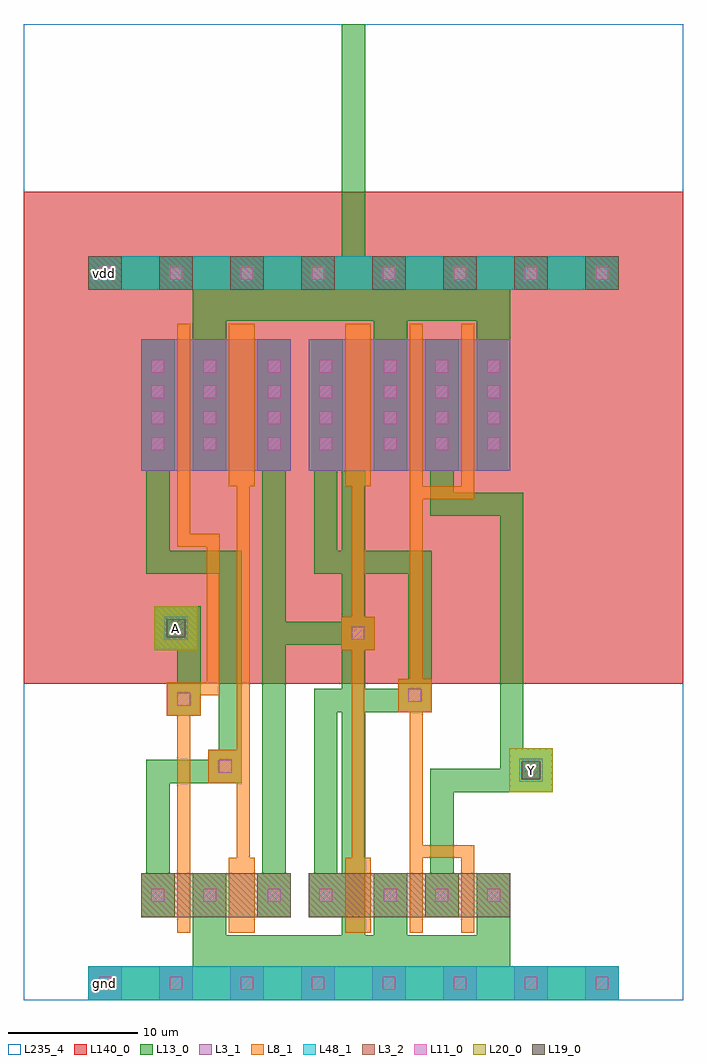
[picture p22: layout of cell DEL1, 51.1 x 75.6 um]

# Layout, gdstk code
import gdstk
lib = gdstk.Library(unit=1e-6, precision=1e-09)
def R(c, l, rs):  # rectangles x0, y0, x1, y1
    for r in rs: c.add(gdstk.rectangle(r[:2], r[2:], *l))
def A(c, l, x, y, w, h, nx, ny, dx, dy):  # array of equal rectangles
    R(c, l, [(x+i*dx, y+j*dy, x+i*dx+w, y+j*dy+h) for i in range(nx) for j in range(ny)])
def P(c, l, *ps):  # polygons
    for p in ps: c.add(gdstk.Polygon(p, *l))
L3_1 = (3, 1)
L3_2 = (3, 2)
L8_1 = (8, 1)
L11_0 = (11, 0)
L13_0 = (13, 0)
L19_0 = (19, 0)
L20_0 = (20, 0)
L48_1 = (48, 1)
L140_0 = (140, 0)
L235_4 = (235, 4)

del1 = lib.new_cell('DEL1')
A(del1, L3_1, 5, 0, 2.6, 2.6, 8, 1, 5.5, 0)
R(del1, L3_1, [(9.1,41,20.7,51.2), (22.1,41,37.7,51.2)])
A(del1, L3_2, 5, 55, 2.6, 2.6, 8, 1, 5.5, 0)
R(del1, L3_2, [(9.1,6.4,20.7,9.8), (22.1,6.4,37.7,9.8)])
P(del1, L8_1, [(11.9,5.2),(11.9,22),(11.1,22),(11.1,24.6),(14.2,24.6),(14.2,35.1),(11.9,35.1),(11.9,52.4),(12.9,52.4),(12.9,36.1),(15.2,36.1),(15.2,23.6),(13.7,23.6),(13.7,22),(12.9,22),(12.9,5.2)],
  [(15.9,5.2),(15.9,11),(16.5,11),(16.5,16.8),(14.3,16.8),(14.3,19.4),(16.5,19.4),(16.5,39.8),(15.9,39.8),(15.9,52.4),(17.9,52.4),(17.9,39.8),(17.5,39.8),(17.5,11),(17.9,11),(17.9,5.2)],
  [(24.9,5.2),(24.9,11),(25.4,11),(25.4,27.1),(24.6,27.1),(24.6,29.7),(25.4,29.7),(25.4,39.8),(24.9,39.8),(24.9,52.4),(26.9,52.4),(26.9,39.8),(26.4,39.8),(26.4,29.7),(27.2,29.7),(27.2,27.1),(26.4,27.1),(26.4,11),(26.9,11),(26.9,5.2)],
  [(29.9,5.2),(29.9,22.3),(29,22.3),(29,24.9),(29.9,24.9),(29.9,52.4),(30.9,52.4),(30.9,39.8),(33.9,39.8),(33.9,52.4),(34.9,52.4),(34.9,38.8),(30.9,38.8),(30.9,24.9),(31.6,24.9),(31.6,22.3),(30.9,22.3),(30.9,12),(34.9,12),(34.9,5.2),(33.9,5.2),(33.9,11),(30.9,11),(30.9,5.2)])
A(del1, L11_0, 5.8, 0.8, 1, 1, 8, 2, 5.5, 55)
A(del1, L11_0, 27.9, 7.6, 1, 1, 3, 2, 4, 35)
A(del1, L11_0, 9.9, 42.6, 1, 1, 1, 4, 0, 2)
A(del1, L11_0, 18.9, 42.6, 1, 1, 1, 4, 0, 2)
A(del1, L11_0, 22.9, 42.6, 1, 1, 1, 4, 0, 2)
A(del1, L11_0, 27.9, 42.6, 1, 1, 1, 4, 0, 2)
A(del1, L11_0, 27.9, 44.6, 1, 1, 3, 3, 4, 2)
R(del1, L11_0, [(9.9,7.6,10.9,8.6), (13.9,7.6,14.9,8.6), (13.9,7.6,14.9,8.6), (18.9,7.6,19.9,8.6), (22.9,7.6,23.9,8.6), (27.9,7.6,28.9,8.6), (15.1,17.6,16.1,18.6), (11.9,22.8,12.9,23.8), (29.8,23.1,30.8,24.1), (25.4,27.9,26.4,28.9), (13.9,42.6,14.9,43.6), (13.9,42.6,14.9,43.6), (13.9,44.6,14.9,45.6), (13.9,44.6,14.9,45.6), (13.9,46.6,14.9,47.6), (13.9,46.6,14.9,47.6), (13.9,48.6,14.9,49.6), (13.9,48.6,14.9,49.6)])
P(del1, L13_0, [(11.1,22),(11.1,24.6),(11.9,24.6),(11.9,27.1),(10.1,27.1),(10.1,30.5),(13.7,30.5),(13.7,22)],
  [(9.1,6.4),(9.1,9.8),(9.5,9.8),(9.5,18.6),(14.3,18.6),(14.3,19.4),(15.1,19.4),(15.1,33),(9.5,33),(9.5,41),(9.1,41),(9.1,51.2),(11.7,51.2),(11.7,41),(11.3,41),(11.3,34.8),(16.9,34.8),(16.9,16.8),(11.3,16.8),(11.3,9.8),(11.7,9.8),(11.7,6.4)],
  [(5,0),(5,2.6),(13.1,2.6),(13.1,9.8),(15.7,9.8),(15.7,5),(24.65,5),(24.65,6.4),(22.1,6.4),(22.1,9.8),(22.5,9.8),(22.5,22.3),(24.3,22.3),(24.3,9.8),(24.65,9.8),(24.65,22.3),(22.5,22.3),(22.5,24.1),(24.65,24.1),(24.65,27.1),(24.6,27.1),(24.6,27.5),(20.3,27.5),(20.3,9.8),(20.7,9.8),(20.7,6.4),(18.1,6.4),(18.1,9.8),(18.5,9.8),(18.5,41),(18.1,41),(18.1,51.2),(20.7,51.2),(20.7,41),(20.3,41),(20.3,29.3),(24.6,29.3),(24.6,29.7),(24.65,29.7),(24.65,33),(26.45,33),(26.45,29.7),(27.2,29.7),(27.2,27.1),(26.45,27.1),(26.45,24.1),(29,24.1),(29,24.9),(29.8,24.9),(29.8,33),(22.5,33),(22.5,41),(24.3,41),(24.3,34.8),(24.65,34.8),(24.65,41),(22.1,41),(22.1,51.2),(24.7,51.2),(24.7,41),(26.45,41),(26.45,34.8),(31.6,34.8),(31.6,22.3),(26.45,22.3),(26.45,5),(27.1,5),(27.1,9.8),(29.7,9.8),(29.7,5),(35.1,5),(35.1,9.8),(37.7,9.8),(37.7,2.6),(46.1,2.6),(46.1,0)],
  [(31.1,6.4),(31.1,9.8),(31.5,9.8),(31.5,17.9),(36.9,17.9),(36.9,37.5),(31.5,37.5),(31.5,41),(31.1,41),(31.1,51.2),(33.7,51.2),(33.7,41),(33.3,41),(33.3,39.3),(38.7,39.3),(38.7,19.5),(41,19.5),(41,16.1),(33.3,16.1),(33.3,9.8),(33.7,9.8),(33.7,6.4)],
  [(13.1,41),(13.1,55),(5,55),(5,57.6),(24.65,57.6),(24.65,75.6),(26.45,75.6),(26.45,57.6),(46.1,57.6),(46.1,55),(37.7,55),(37.7,41),(35.1,41),(35.1,52.6),(29.7,52.6),(29.7,41),(27.1,41),(27.1,52.6),(15.7,52.6),(15.7,41)])
R(del1, L19_0, [(38.6,17.1,40,18.5), (11.1,28.1,12.5,29.5)])
R(del1, L20_0, [(37.6,16.1,41,19.5), (10.1,27.1,13.5,30.5)])
R(del1, L48_1, [(5,0,46.1,2.6), (38.4,16.9,40.2,18.7), (10.9,27.9,12.7,29.7), (5,55,46.1,57.6)])
R(del1, L140_0, [(0,24.5,51.1,62.6)])
R(del1, L235_4, [(0,0,51.1,75.6)])
del1.add(gdstk.Label('Y', (39.3,17.8), layer=48, texttype=0))
del1.add(gdstk.Label('A', (11.8,28.8), layer=48, texttype=0))
del1.add(gdstk.Label('vdd', (6.3,56.3), layer=48, texttype=0))
del1.add(gdstk.Label('A', (11.8,28.8), layer=48, texttype=0))
del1.add(gdstk.Label('vdd', (6.3,56.3), layer=48, texttype=0))
del1.add(gdstk.Label('gnd', (6.3,1.3), layer=48, texttype=0))
del1.add(gdstk.Label('A', (11.8,28.8), layer=49, texttype=0))
del1.add(gdstk.Label('Y', (39.3,17.8), layer=49, texttype=0))

lib.write_gds('DEL1.gds')
